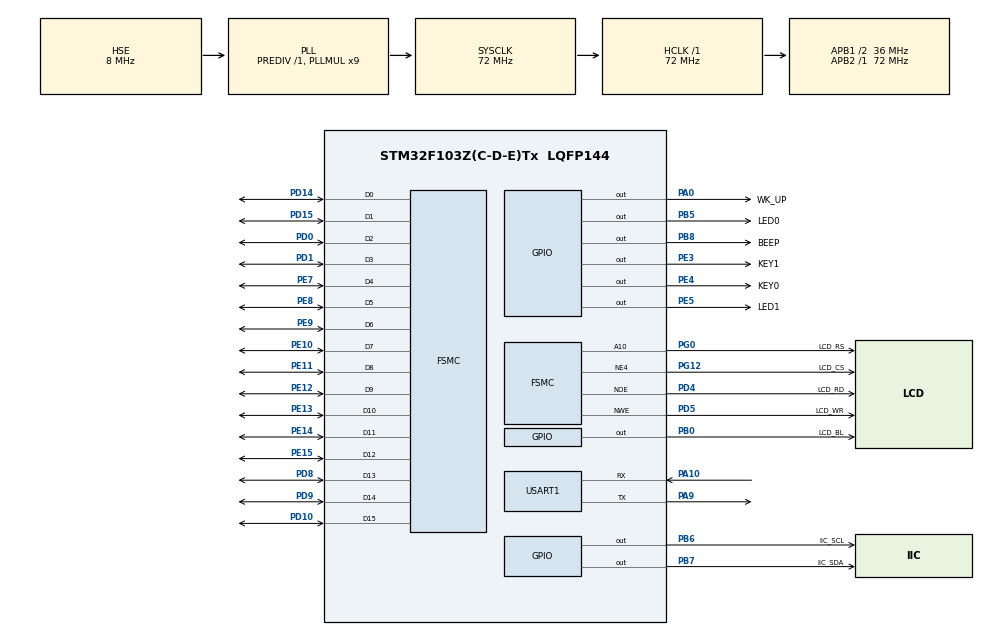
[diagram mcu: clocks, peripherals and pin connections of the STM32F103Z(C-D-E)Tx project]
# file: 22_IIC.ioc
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FSMC.AddressSetupTime1=0
FSMC.BusTurnAroundDuration1=15
FSMC.DataSetupTime1=15
FSMC.ExtendedAddressSetupTime1=0
FSMC.ExtendedDataSetupTime1=1
FSMC.ExtendedMode1=FSMC_EXTENDED_MODE_ENABLE
Mcu.Family=STM32F1
Mcu.Name=STM32F103Z(C-D-E)Tx
Mcu.Package=LQFP144
NVIC.PriorityGroup=NVIC_PRIORITYGROUP_2
NVIC.USART1_IRQn=true\:2\:2\:true\:false\:true\:true\:true\:true
OSC_IN.Mode=HSE-External-Oscillator
OSC_IN.Signal=RCC_OSC_IN
OSC_OUT.Mode=HSE-External-Oscillator
OSC_OUT.Signal=RCC_OSC_OUT
PA0-WKUP.GPIO_Label=WK_UP
PA0-WKUP.GPIO_PuPd=GPIO_PULLDOWN
PA0-WKUP.GPIO_Speed=GPIO_SPEED_FREQ_HIGH
PA0-WKUP.PinState=GPIO_PIN_RESET
PA0-WKUP.Signal=GPIO_Output
PA10.Mode=Asynchronous
PA10.Signal=USART1_RX
PA13.Mode=Serial_Wire
PA13.Signal=SYS_JTMS-SWDIO
PA14.Mode=Serial_Wire
PA14.Signal=SYS_JTCK-SWCLK
PA9.Mode=Asynchronous
PA9.Signal=USART1_TX
PB0.GPIO_Label=LCD_BL
PB0.GPIO_PuPd=GPIO_PULLUP
PB0.GPIO_Speed=GPIO_SPEED_FREQ_HIGH
PB0.PinState=GPIO_PIN_SET
PB0.Signal=GPIO_Output
PB5.GPIO_Label=LED0
PB5.GPIO_PuPd=GPIO_PULLUP
PB5.GPIO_Speed=GPIO_SPEED_FREQ_HIGH
PB5.PinState=GPIO_PIN_SET
PB5.Signal=GPIO_Output
PB6.GPIO_Label=IIC_SCL
PB6.GPIO_PuPd=GPIO_PULLUP
PB6.GPIO_Speed=GPIO_SPEED_FREQ_HIGH
PB6.PinState=GPIO_PIN_SET
PB6.Signal=GPIO_Output
PB7.GPIO_Label=IIC_SDA
PB7.GPIO_PuPd=GPIO_PULLUP
PB7.GPIO_Speed=GPIO_SPEED_FREQ_HIGH
PB7.PinState=GPIO_PIN_SET
PB7.Signal=GPIO_Output
PB8.GPIO_Label=BEEP
PB8.GPIO_ModeDefaultOutputPP=GPIO_MODE_OUTPUT_PP
PB8.GPIO_PuPd=GPIO_PULLDOWN
PB8.GPIO_Speed=GPIO_SPEED_FREQ_HIGH
PB8.PinState=GPIO_PIN_RESET
PB8.Signal=GPIO_Output
PC14-OSC32_IN.Mode=LSE-External-Oscillator
PC14-OSC32_IN.Signal=RCC_OSC32_IN
PC15-OSC32_OUT.Mode=LSE-External-Oscillator
PC15-OSC32_OUT.Signal=RCC_OSC32_OUT
PD0.Signal=FSMC_D2_DA2
PD1.Signal=FSMC_D3_DA3
PD10.Signal=FSMC_D15_DA15
PD14.Signal=FSMC_D0_DA0
PD15.Signal=FSMC_D1_DA1
PD4.GPIO_Label=LCD_RD
PD4.Signal=FSMC_NOE
PD5.GPIO_Label=LCD_WR
PD5.Signal=FSMC_NWE
PD8.Signal=FSMC_D13_DA13
PD9.Signal=FSMC_D14_DA14
PE10.Signal=FSMC_D7_DA7
PE11.Signal=FSMC_D8_DA8
PE12.Signal=FSMC_D9_DA9
PE13.Signal=FSMC_D10_DA10
PE14.Signal=FSMC_D11_DA11
PE15.Signal=FSMC_D12_DA12
PE3.GPIO_Label=KEY1
PE3.GPIO_PuPd=GPIO_PULLUP
PE3.GPIO_Speed=GPIO_SPEED_FREQ_HIGH
PE3.PinState=GPIO_PIN_SET
PE3.Signal=GPIO_Output
PE4.GPIO_Label=KEY0
PE4.GPIO_PuPd=GPIO_PULLUP
PE4.GPIO_Speed=GPIO_SPEED_FREQ_HIGH
PE4.PinState=GPIO_PIN_SET
PE4.Signal=GPIO_Output
PE5.GPIO_Label=LED1
PE5.GPIO_PuPd=GPIO_PULLUP
PE5.GPIO_Speed=GPIO_SPEED_FREQ_HIGH
PE5.PinState=GPIO_PIN_SET
PE5.Signal=GPIO_Output
PE7.Signal=FSMC_D4_DA4
PE8.Signal=FSMC_D5_DA5
PE9.Signal=FSMC_D6_DA6
PG0.GPIO_Label=LCD_RS
PG0.Signal=FSMC_A10
PG12.GPIO_Label=LCD_CS
PG12.Mode=NorPsramChipSelect4_1
PG12.Signal=FSMC_NE4
ProjectManager.HeapSize=0x200
ProjectManager.StackSize=0x400
ProjectManager.TargetToolchain=STM32CubeIDE
RCC.AHBFreq_Value=72000000
RCC.APB1CLKDivider=RCC_HCLK_DIV2
RCC.APB1Freq_Value=36000000
RCC.APB1TimFreq_Value=72000000
RCC.APB2Freq_Value=72000000
RCC.APB2TimFreq_Value=72000000
RCC.HCLKFreq_Value=72000000
RCC.PLLMUL=RCC_PLL_MUL9
RCC.PLLSourceVirtual=RCC_PLLSOURCE_HSE
RCC.SYSCLKFreq_VALUE=72000000
RCC.SYSCLKSource=RCC_SYSCLKSOURCE_PLLCLK
RCC.USBFreq_Value=72000000
SH.FSMC_A10.0=FSMC_A10,A10_1
SH.FSMC_D0_DA0.0=FSMC_D0,16b-d1
SH.FSMC_D10_DA10.0=FSMC_D10,16b-d1
SH.FSMC_D11_DA11.0=FSMC_D11,16b-d1
SH.FSMC_D12_DA12.0=FSMC_D12,16b-d1
SH.FSMC_D13_DA13.0=FSMC_D13,16b-d1
SH.FSMC_D14_DA14.0=FSMC_D14,16b-d1
SH.FSMC_D15_DA15.0=FSMC_D15,16b-d1
SH.FSMC_D1_DA1.0=FSMC_D1,16b-d1
SH.FSMC_D2_DA2.0=FSMC_D2,16b-d1
SH.FSMC_D3_DA3.0=FSMC_D3,16b-d1
SH.FSMC_D4_DA4.0=FSMC_D4,16b-d1
SH.FSMC_D5_DA5.0=FSMC_D5,16b-d1
SH.FSMC_D6_DA6.0=FSMC_D6,16b-d1
SH.FSMC_D7_DA7.0=FSMC_D7,16b-d1
SH.FSMC_D8_DA8.0=FSMC_D8,16b-d1
SH.FSMC_D9_DA9.0=FSMC_D9,16b-d1
SH.FSMC_NOE.0=FSMC_NOE,Lcd1
SH.FSMC_NWE.0=FSMC_NWE,Lcd1
USART1.VirtualMode=VM_ASYNC
board=custom

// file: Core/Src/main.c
/* USER CODE BEGIN Header */

/* USER CODE END Header */
#include "main.h"
#include "usart.h"
#include "gpio.h"
#include "fsmc.h"

/* USER CODE BEGIN Includes */
#include "../../BSP/LED/led.h"
#include "../../BSP/KEY/key.h"
#include "../../BSP/LCD/lcd.h"
#include "../../BSP/24CXX/24cxx.h"
#include "../../SYSTEM/delay/delay.h"
/* USER CODE END Includes */

/* USER CODE BEGIN PTD */
/* 要写入到24c02的字符串数组 */
const uint8_t g_text_buf[] = {"STM32 IIC TEST"};
#define TEXT_SIZE       sizeof(g_text_buf)  /* TEXT字符串长度 */
/* USER CODE END PTD */

void SystemClock_Config(void);

int main(void)
{
  /* USER CODE BEGIN 1 */
    uint8_t key;
    uint16_t i = 0;
    uint8_t datatemp[TEXT_SIZE];
  /* USER CODE END 1 */

  /* MCU Configuration--------------------------------------------------------*/

  /* Reset of all peripherals, Initializes the Flash interface and the Systick. */
  HAL_Init();

  /* Configure the system clock */
  SystemClock_Config();

  /* USER CODE BEGIN SysInit */
  delay_init(72);						   /* 初始化延时函数 */
  /* USER CODE END SysInit */

  /* Initialize all configured peripherals */
  MX_GPIO_Init();
  MX_FSMC_Init();
  MX_USART1_UART_Init();
  /* USER CODE BEGIN 2 */
  lcd_init();                                         /* 初始化LCD */
  at24cxx_init();                             /* 初始化24CXX */

  lcd_show_string(30, 50, 200, 16, 16, "STM32", RED);
  lcd_show_string(30, 70, 200, 16, 16, "IIC TEST", RED);
  lcd_show_string(30, 90, 200, 16, 16, "ATOM@ALIENTEK", RED);
  lcd_show_string(30, 110, 200, 16, 16, "KEY1:Write  KEY0:Read", RED);    /* 显示提示信息 */
  while (at24cxx_check()) /* 检测不到24c02 */
  {
      lcd_show_string(30, 130, 200, 16, 16, "24C02 Check Failed!", RED);
      delay_ms(500);
      lcd_show_string(30, 130, 200, 16, 16, "Please Check!      ", RED);
      delay_ms(500);
      LED0_TOGGLE();      /* 红灯闪烁 */
  }

  lcd_show_string(30, 130, 200, 16, 16, "24C02 Ready!", RED);
  /* USER CODE END 2 */

  /* Infinite loop */
  /* USER CODE BEGIN WHILE */
  while (1)
  {
	  key = key_scan(0);

	  if (key == KEY1_PRES)   /* KEY1按下,写入24C02 */
	  {
		  lcd_fill(0, 150, 239, 319, WHITE);  /* 清除半屏 */
		  lcd_show_string(30, 150, 200, 16, 16, "Start Write 24C02....", BLUE);
		  at24cxx_write(0, (uint8_t *)g_text_buf, TEXT_SIZE);
		  lcd_show_string(30, 150, 200, 16, 16, "24C02 Write Finished!", BLUE);   /* 提示传送完成 */
	  }

	  if (key == KEY0_PRES)   /* KEY0按下,读取字符串并显示 */
	  {
		  lcd_show_string(30, 150, 200, 16, 16, "Start Read 24C02.... ", BLUE);
		  at24cxx_read(0, datatemp, TEXT_SIZE);
		  lcd_show_string(30, 150, 200, 16, 16, "The Data Readed Is:  ", BLUE);   /* 提示传送完成 */
		  lcd_show_string(30, 170, 200, 16, 16, (char *)datatemp, BLUE);          /* 显示读到的字符串 */
	  }

	  i++;

	  if (i == 20)
	  {
		  LED0_TOGGLE();  /* 红灯闪烁 */
		  i = 0;
	  }

	  delay_ms(10);

    /* USER CODE END WHILE */

  }
}

void SystemClock_Config(void)
{
  RCC_OscInitTypeDef RCC_OscInitStruct = {0};
  RCC_ClkInitTypeDef RCC_ClkInitStruct = {0};

  /** Initializes the RCC Oscillators according to the specified parameters
  * in the RCC_OscInitTypeDef structure.
  */
  RCC_OscInitStruct.OscillatorType = RCC_OSCILLATORTYPE_HSE;
  RCC_OscInitStruct.HSEState = RCC_HSE_ON;
  RCC_OscInitStruct.HSEPredivValue = RCC_HSE_PREDIV_DIV1;
  RCC_OscInitStruct.HSIState = RCC_HSI_ON;
  RCC_OscInitStruct.PLL.PLLState = RCC_PLL_ON;
  RCC_OscInitStruct.PLL.PLLSource = RCC_PLLSOURCE_HSE;
  RCC_OscInitStruct.PLL.PLLMUL = RCC_PLL_MUL9;
  if (HAL_RCC_OscConfig(&RCC_OscInitStruct) != HAL_OK)
  {
    Error_Handler();
  }

  /** Initializes the CPU, AHB and APB buses clocks
  */
  RCC_ClkInitStruct.ClockType = RCC_CLOCKTYPE_HCLK|RCC_CLOCKTYPE_SYSCLK
                              |RCC_CLOCKTYPE_PCLK1|RCC_CLOCKTYPE_PCLK2;
  RCC_ClkInitStruct.SYSCLKSource = RCC_SYSCLKSOURCE_PLLCLK;
  RCC_ClkInitStruct.AHBCLKDivider = RCC_SYSCLK_DIV1;
  RCC_ClkInitStruct.APB1CLKDivider = RCC_HCLK_DIV2;
  RCC_ClkInitStruct.APB2CLKDivider = RCC_HCLK_DIV1;

  if (HAL_RCC_ClockConfig(&RCC_ClkInitStruct, FLASH_LATENCY_2) != HAL_OK)
  {
    Error_Handler();
  }
}

void Error_Handler(void)
{
  __disable_irq();
  while (1)
  {
  }
}
